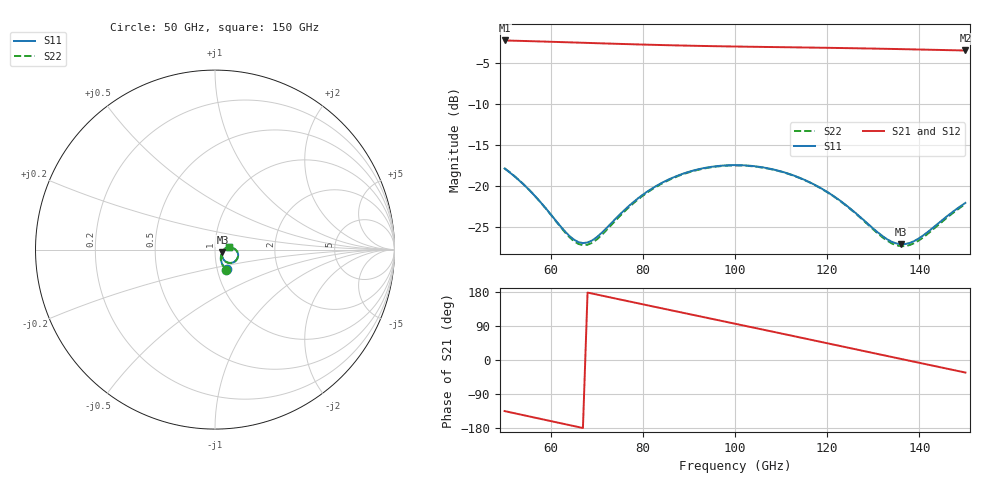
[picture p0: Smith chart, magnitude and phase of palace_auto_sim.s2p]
#  GHZ S DB R 50
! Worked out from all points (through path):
!   101 points, 50 GHz to 150 GHz, reference 50 ohm
!   highest |S21| = -2.25 dB at 50 GHz (marker M1); lowest = -3.5 dB at 150 GHz (marker M2)
!   group delay of S21, straight-line fit = 7.16 ps
!   lowest |S11| = -27.1 dB at 136 GHz (marker M3), VSWR 1.09, Z = 54.3 - j1.73 ohm
!   |S11| at or under -10 dB: start of sweep to end of sweep
!   |S22| runs from -27.3 to -17.5 dB; largest |S21 - S12| = 0
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50  -17.84 -59.7  -2.25 -134.8  -2.25 -134.8  -17.82 -60.4
55  -20.26 -63.3  -2.33 -148.0  -2.33 -148.0  -20.25 -64.2
59  -22.73 -61.3  -2.39 -158.5  -2.39 -158.5  -22.75 -62.6
64  -26.01 -45.8  -2.48 -171.6  -2.48 -171.6  -26.16 -47.4
67  -26.92 -27.5  -2.53 -179.4  -2.53 -179.4  -27.18 -28.7
70  -26.20 -9.7  -2.58 172.8  -2.58 172.8  -26.48 -10.0
75  -23.44 4.9  -2.67 159.8  -2.67 159.8  -23.63 5.3
79  -21.45 6.7  -2.73 149.5  -2.73 149.5  -21.58 7.1
84  -19.62 3.4  -2.81 136.7  -2.81 136.7  -19.71 3.7
92  -17.94 -7.1  -2.91 116.2  -2.91 116.2  -18.00 -6.9
100  -17.42 -19.8  -2.99 95.7  -2.99 95.7  -17.47 -19.7
104  -17.54 -26.3  -3.02 85.5  -3.02 85.5  -17.58 -26.2
108  -17.91 -32.7  -3.05 75.2  -3.05 75.2  -17.95 -32.7
112  -18.54 -38.6  -3.08 64.9  -3.08 64.9  -18.57 -38.7
117  -19.73 -44.9  -3.12 52.0  -3.12 52.0  -19.76 -45.1
122  -21.43 -48.9  -3.16 39.1  -3.16 39.1  -21.47 -49.3
126  -23.17 -48.8  -3.20 28.7  -3.20 28.7  -23.23 -49.4
134  -26.75 -30.1  -3.28 8.1  -3.28 8.1  -26.95 -30.8
136  -27.06 -21.0  -3.31 2.9  -3.31 2.9  -27.29 -21.4
140  -26.31 -3.7  -3.35 -7.4  -3.35 -7.4  -26.56 -3.4
145  -24.11 7.4  -3.41 -20.3  -3.41 -20.3  -24.29 8.1
150  -22.03 8.8  -3.47 -33.1  -3.47 -33.1  -22.16 9.6
